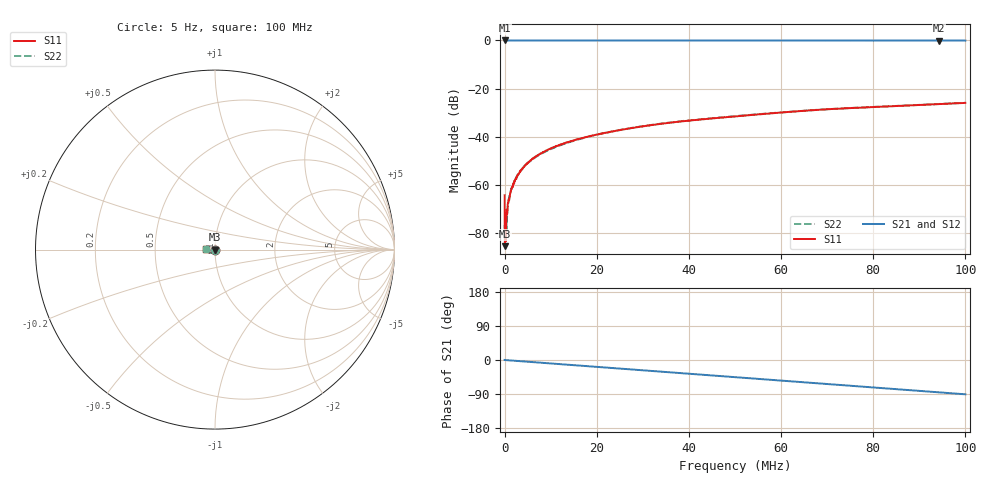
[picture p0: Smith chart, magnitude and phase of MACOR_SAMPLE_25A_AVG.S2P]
!Agilent Technologies,E5061B,MY49102235,A.02.00
!Date: Mon Jul 10 12:08:29 2023
!Data & Calibration Information:
!Freq	S11:SOLT2(ON)	S21:SOLT2(ON)	S12:SOLT2(ON)	S22:SOLT2(ON)
# Hz S RI R 50
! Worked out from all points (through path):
!   1600 points, 5 Hz to 100 MHz, reference 50 ohm
!   highest |S21| = 0.01 dB at 5 Hz (marker M1); lowest = 0.0 dB at 94.31 MHz (marker M2)
!   group delay of S21, straight-line fit = 2.51 ns
!   lowest |S11| = -85.3 dB at 62.54 kHz (marker M3), VSWR 1.00, Z = 50 - j0.000405 ohm
!   |S11| at or under -10 dB: start of sweep to end of sweep
!   |S22| runs from -81.4 to -25.8 dB; largest |S21 - S12| = 0.0025
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5  -0.000447 0.000427  1.002 0.00218  1 1.63e-05  -0.000138 -6.14e-05
62544.08  -5.43e-05 -4.05e-06  1 -0.000859  1 -0.00052  1.99e-05 -9.69e-05
250161.3  2.23e-05 -6.5e-05  0.9998 -0.00425  0.9998 -0.00397  1.28e-05 -8.37e-05
562856.8  9.48e-05 -0.000234  0.9997 -0.00926  0.9996 -0.00868  5.19e-05 -0.000284
813013.1  -1.78e-05 -0.000426  1 -0.0131  0.9993 -0.0126  -3.51e-05 -0.000468
1063169  -8.56e-06 -0.000548  1.001 -0.0168  1 -0.0169  7.08e-06 -0.000621
1188248  -2.8e-05 -0.000654  0.9998 -0.0188  0.9995 -0.0186  1.7e-07 -0.00065
1500943  -9.6e-06 -0.000851  1 -0.0241  0.9992 -0.0237  -3.05e-05 -0.000823
1938717  -1.7e-05 -0.00107  0.9994 -0.031  0.9998 -0.0307  -1.07e-05 -0.00109
2626647  -5.77e-05 -0.00146  0.9989 -0.0418  0.9994 -0.041  -1.25e-05 -0.00148
4002506  -2.87e-05 -0.00229  0.998 -0.0635  0.9978 -0.063  -0.00013 -0.00227
6378992  -0.000254 -0.00373  0.9951 -0.1008  0.9948 -0.1004  -0.000339 -0.00358
8818016  -0.000545 -0.00507  0.9903 -0.139  0.9903 -0.1387  -0.000682 -0.00492
1.282052e7  -0.0013 -0.00722  0.9794 -0.2015  0.9795 -0.2012  -0.00134 -0.00701
1.669794e7  -0.0023 -0.00913  0.9653 -0.2609  0.9653 -0.2607  -0.00226 -0.00901
2.445279e7  -0.00504 -0.0126  0.9263 -0.377  0.926 -0.377  -0.00497 -0.0127
3.333334e7  -0.00921 -0.0159  0.8642 -0.5029  0.8642 -0.5025  -0.00911 -0.0162
5.003127e7  -0.0189 -0.0188  0.703 -0.7107  0.7031 -0.7106  -0.0194 -0.0189
6.672921e7  -0.0314 -0.0173  0.4932 -0.8692  0.4931 -0.8688  -0.0315 -0.0173
8.33646e7  -0.0418 -0.00995  0.25 -0.9671  0.2502 -0.9667  -0.042 -0.0102
9.430894e7  -0.048 -0.00197  0.0803 -0.9951  0.0803 -0.995  -0.0483 -0.00284
1e8  -0.0508 0.00278  -0.00928 -0.9985  -0.00919 -0.9982  -0.0513 0.00174
